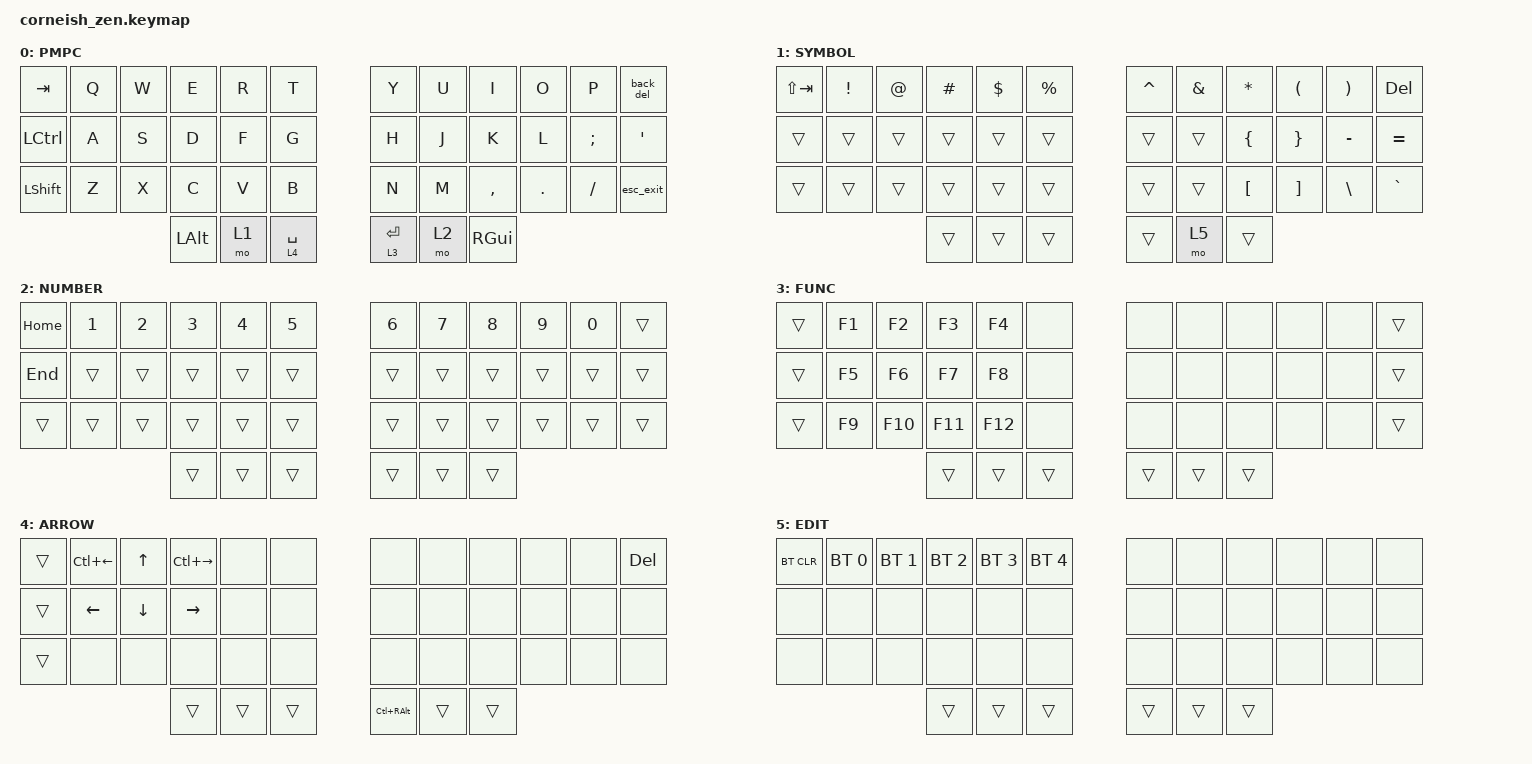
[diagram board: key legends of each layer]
/*
*
* Copyright (c) 2021 Darryl deHaan
* SPDX-License-Identifier: MIT
*
*/

#include <behaviors.dtsi>
#include <dt-bindings/zmk/keys.h>
#include <dt-bindings/zmk/bt.h>

/ {
    chosen {
        zmk,matrix_transform = &default_transform;

        //zmk,matrix_transform = &five_column_transform;
    };
};

/ {
    behaviors {
        esc_exit: esc_exit {
            compatible = "zmk,behavior-tap-dance";
            label = "ESC_EXIT";
            #binding-cells = <0>;
            bindings =
                <&kp ESC>,
                <&kp LA(F4)>;

            tapping-term-ms = <190>;
        };
        back_del: back_del {
            compatible = "zmk,behavior-mod-morph";
            label = "BACK_DEL";
            bindings =
                <&kp BACKSPACE>,
                <&kp DELETE>;

            #binding-cells = <0>;
            mods = <(MOD_LSFT)>;
        };
    };

    keymap {
        compatible = "zmk,keymap";

        default_layer {
            label = "PMPC";

            // -----------------------------------------------------------------------------------------
            // |  TAB |  Q  |  W  |  E  |  R  |  T  |   |  Y  |  U   |  I  |  O  |  P  | BKSP |
            // | CTRL |  A  |  S  |  D  |  F  |  G  |   |  H  |  J   |  K  |  L  |  ;  |  '   |
            // | SHFT |  Z  |  X  |  C  |  V  |  B  |   |  N  |  M   |  ,  |  .  |  /  | ESC  |
            //                    | GUI | LWR | SPC |   | ENT | RSE  | ALT |

            bindings = <
  &kp TAB  &kp Q  &kp W     &kp E  &kp R        &kp T          &kp Y  &kp U      &kp I    &kp O     &kp P         &back_del
&kp LCTRL  &kp A  &kp S     &kp D  &kp F        &kp G          &kp H  &kp J      &kp K    &kp L  &kp SEMI  &kp SINGLE_QUOTE
&kp LSHFT  &kp Z  &kp X     &kp C  &kp V        &kp B          &kp N  &kp M  &kp COMMA  &kp DOT  &kp FSLH         &esc_exit
                         &kp LALT  &mo 1  &lt 4 SPACE    &lt 3 ENTER  &mo 2   &kp RGUI
            >;
        };

        LWR {
            label = "SYMBOL";
            bindings = <
&kp LS(TAB)  &kp EXCL  &kp AT  &kp HASH  &kp DOLLAR  &kp PERCENT    &kp CARET  &kp AMPS          &kp STAR  &kp LEFT_PARENTHESIS  &kp RIGHT_PARENTHESIS    &kp DEL
     &trans    &trans  &trans    &trans      &trans       &trans       &trans    &trans    &kp LEFT_BRACE       &kp RIGHT_BRACE              &kp MINUS  &kp EQUAL
     &trans    &trans  &trans    &trans      &trans       &trans       &trans    &trans  &kp LEFT_BRACKET     &kp RIGHT_BRACKET          &kp BACKSLASH  &kp GRAVE
                                 &trans      &trans       &trans       &trans     &mo 5            &trans
            >;
        };

        RSE {
            label = "NUMBER";
            bindings = <
&kp HOME  &kp N1  &kp N2  &kp N3  &kp N4  &kp N5    &kp N6  &kp N7  &kp N8  &kp N9  &kp N0  &trans
 &kp END  &trans  &trans  &trans  &trans  &trans    &trans  &trans  &trans  &trans  &trans  &trans
  &trans  &trans  &trans  &trans  &trans  &trans    &trans  &trans  &trans  &trans  &trans  &trans
                          &trans  &trans  &trans    &trans  &trans  &trans
            >;
        };

        FNC {
            label = "FUNC";
            bindings = <
&trans  &kp F1   &kp F2   &kp F3   &kp F4   &none     &none   &none   &none  &none  &none  &trans
&trans  &kp F5   &kp F6   &kp F7   &kp F8   &none     &none   &none   &none  &none  &none  &trans
&trans  &kp F9  &kp F10  &kp F11  &kp F12   &none     &none   &none   &none  &none  &none  &trans
                          &trans   &trans  &trans    &trans  &trans  &trans
            >;
        };

        ARW {
            label = "ARROW";
            bindings = <
&trans  &kp LC(LEFT)    &kp UP  &kp LC(RIGHT)   &none   &none                &none   &none   &none  &none  &none  &kp DELETE
&trans      &kp LEFT  &kp DOWN      &kp RIGHT   &none   &none                &none   &none   &none  &none  &none       &none
&trans         &none     &none          &none   &none   &none                &none   &none   &none  &none  &none       &none
                                       &trans  &trans  &trans    &kp LC(RIGHT_ALT)  &trans  &trans
            >;
        };

        EDIT {
            label = "EDIT";
            bindings = <
&bt BT_CLR  &bt BT_SEL 0  &bt BT_SEL 1  &bt BT_SEL 2  &bt BT_SEL 3  &bt BT_SEL 4     &none   &none   &none  &none  &none  &none
     &none         &none         &none         &none         &none         &none     &none   &none   &none  &none  &none  &none
     &none         &none         &none         &none         &none         &none     &none   &none   &none  &none  &none  &none
                                              &trans        &trans        &trans    &trans  &trans  &trans
            >;
        };
    };
};
